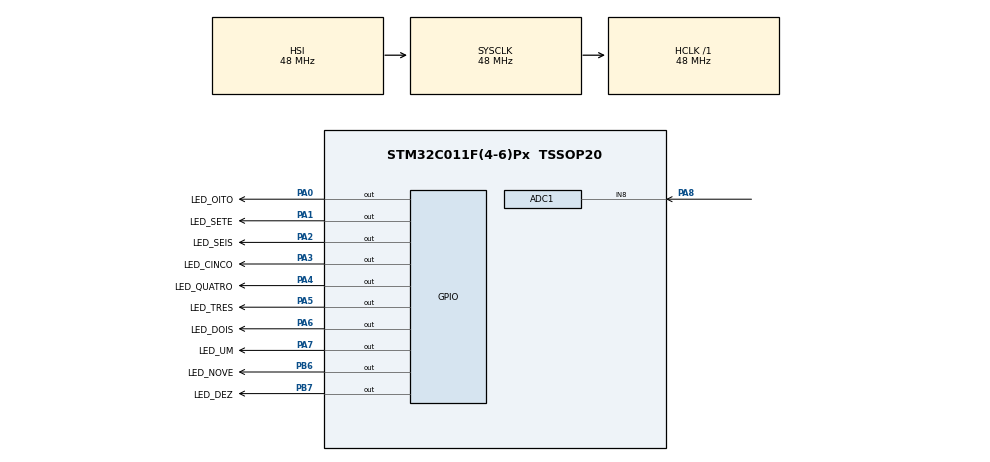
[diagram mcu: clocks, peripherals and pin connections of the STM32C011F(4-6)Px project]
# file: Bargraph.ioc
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ADC1.Channel-0\#ChannelRegularConversion=ADC_CHANNEL_8
ADC1.NbrOfConversionFlag=1
ADC1.Rank-0\#ChannelRegularConversion=1
ADC1.SamplingTime-0\#ChannelRegularConversion=ADC_SAMPLINGTIME_COMMON_1
ADC1.SelectedChannel=ADC_CHANNEL_8
ADC1.master=1
Mcu.Family=STM32C0
Mcu.Name=STM32C011F(4-6)Px
Mcu.Package=TSSOP20
NVIC.ADC1_IRQn=true\:0\:0\:false\:false\:true\:true\:true\:true
PA0.GPIO_Label=LED_OITO
PA0.Signal=GPIO_Output
PA1.GPIO_Label=LED_SETE
PA1.Signal=GPIO_Output
PA13.Mode=Serial_Wire
PA13.Signal=DEBUG_SWDIO
PA14-BOOT0.Mode=Serial_Wire
PA14-BOOT0.Signal=DEBUG_SWCLK
PA2.GPIO_Label=LED_SEIS
PA2.Signal=GPIO_Output
PA3.GPIO_Label=LED_CINCO
PA3.Signal=GPIO_Output
PA4.GPIO_Label=LED_QUATRO
PA4.Signal=GPIO_Output
PA5.GPIO_Label=LED_TRES
PA5.Signal=GPIO_Output
PA6.GPIO_Label=LED_DOIS
PA6.Signal=GPIO_Output
PA7.GPIO_Label=LED_UM
PA7.Signal=GPIO_Output
PA8.Mode=IN8
PA8.Signal=ADC1_IN8
PB6.GPIO_Label=LED_NOVE
PB6.Signal=GPIO_Output
PB7.GPIO_Label=LED_DEZ
PB7.Signal=GPIO_Output
ProjectManager.HeapSize=0x200
ProjectManager.StackSize=0x400
ProjectManager.TargetToolchain=STM32CubeIDE
RCC.ADCFreq_Value=48000000
RCC.AHBFreq_Value=48000000
RCC.CortexFreq_Value=48000000
RCC.EXTERNAL_CLOCK_VALUE=12288000
RCC.HCLKFreq_Value=48000000
RCC.HSE_VALUE=8000000
RCC.HSISYSCLKDivider=RCC_HSI_DIV1
RCC.HSI_VALUE=48000000
RCC.LSE_VALUE=32768
RCC.SYSCLKFreq_VALUE=48000000
board=custom

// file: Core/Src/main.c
/* USER CODE BEGIN Header */
/**
  ******************************************************************************
  * @file           : main.c
  * @brief          : Main program body
  ******************************************************************************
  * @attention
  *
  * Copyright (c) 2024 STMicroelectronics.
  * All rights reserved.
  *
  * This software is licensed under terms that can be found in the LICENSE file
  * in the root directory of this software component.
  * If no LICENSE file comes with this software, it is provided AS-IS.
  *
  ******************************************************************************
  */
/* USER CODE END Header */
#include "main.h"

ADC_HandleTypeDef hadc1;

void SystemClock_Config(void);
static void MX_GPIO_Init(void);
static void MX_ADC1_Init(void);
/* USER CODE BEGIN PFP */
void desligaLeds();
/* USER CODE END PFP */

/* USER CODE BEGIN 0 */
void desligaLeds(){
	HAL_GPIO_WritePin(GPIOA, LED_UM_Pin, GPIO_PIN_RESET);
	HAL_GPIO_WritePin(GPIOA, LED_DOIS_Pin, GPIO_PIN_RESET);
	HAL_GPIO_WritePin(GPIOA, LED_TRES_Pin, GPIO_PIN_RESET);
	HAL_GPIO_WritePin(GPIOA, LED_QUATRO_Pin, GPIO_PIN_RESET);
	HAL_GPIO_WritePin(GPIOA, LED_CINCO_Pin, GPIO_PIN_RESET);
	HAL_GPIO_WritePin(GPIOA, LED_SEIS_Pin, GPIO_PIN_RESET);
	HAL_GPIO_WritePin(GPIOA, LED_SETE_Pin, GPIO_PIN_RESET);
	HAL_GPIO_WritePin(GPIOA, LED_OITO_Pin, GPIO_PIN_RESET);
	HAL_GPIO_WritePin(GPIOB, LED_NOVE_Pin, GPIO_PIN_RESET);
	HAL_GPIO_WritePin(GPIOB, LED_DEZ_Pin, GPIO_PIN_RESET);
}

void HAL_ADC_ConvCpltCallback(ADC_HandleTypeDef *hadc) {
  uint32_t leituraPotenciometro = HAL_ADC_GetValue(&hadc1);
  int ledCount = leituraPotenciometro * 10 / 4095; // 10 LEDs e 2^12-1
  desligaLeds();
  if(ledCount >= 1) HAL_GPIO_WritePin(GPIOA, LED_UM_Pin, GPIO_PIN_SET);
  if(ledCount >= 2) HAL_GPIO_WritePin(GPIOA, LED_DOIS_Pin, GPIO_PIN_SET);
  if(ledCount >= 3) HAL_GPIO_WritePin(GPIOA, LED_TRES_Pin, GPIO_PIN_SET);
  if(ledCount >= 4) HAL_GPIO_WritePin(GPIOA, LED_QUATRO_Pin, GPIO_PIN_SET);
  if(ledCount >= 5) HAL_GPIO_WritePin(GPIOA, LED_CINCO_Pin, GPIO_PIN_SET);
  if(ledCount >= 6) HAL_GPIO_WritePin(GPIOA, LED_SEIS_Pin, GPIO_PIN_SET);
  if(ledCount >= 7) HAL_GPIO_WritePin(GPIOA, LED_SETE_Pin, GPIO_PIN_SET);
  if(ledCount >= 8) HAL_GPIO_WritePin(GPIOA, LED_OITO_Pin, GPIO_PIN_SET);
  if(ledCount >= 9) HAL_GPIO_WritePin(GPIOB, LED_NOVE_Pin, GPIO_PIN_SET);
  if(ledCount >= 10) HAL_GPIO_WritePin(GPIOB, LED_DEZ_Pin, GPIO_PIN_SET);
}
/* USER CODE END 0 */

int main(void)
{
  /* MCU Configuration--------------------------------------------------------*/
  /* Reset of all peripherals, Initializes the Flash interface and the Systick. */
  HAL_Init();
  /* Configure the system clock */
  SystemClock_Config();
  /* Initialize all configured peripherals */
  MX_GPIO_Init();
  MX_ADC1_Init();
  /* USER CODE BEGIN 2 */
  HAL_ADCEx_Calibration_Start(&hadc1); // Rotina de calibração do ADC
  /* USER CODE END 2 */
  /* Infinite loop */
  while (1)
  {
    /* USER CODE BEGIN 3 */
	HAL_ADC_Start_IT(&hadc1); // Inicia ADC interrupcao
  }
  /* USER CODE END 3 */
}

void SystemClock_Config(void)
{
  RCC_OscInitTypeDef RCC_OscInitStruct = {0};
  RCC_ClkInitTypeDef RCC_ClkInitStruct = {0};

  /** Initializes the RCC Oscillators according to the specified parameters
  * in the RCC_OscInitTypeDef structure.
  */
  RCC_OscInitStruct.OscillatorType = RCC_OSCILLATORTYPE_HSI;
  RCC_OscInitStruct.HSIState = RCC_HSI_ON;
  RCC_OscInitStruct.HSIDiv = RCC_HSI_DIV1;
  RCC_OscInitStruct.HSICalibrationValue = RCC_HSICALIBRATION_DEFAULT;
  if (HAL_RCC_OscConfig(&RCC_OscInitStruct) != HAL_OK)
  {
    Error_Handler();
  }

  /** Initializes the CPU, AHB and APB buses clocks
  */
  RCC_ClkInitStruct.ClockType = RCC_CLOCKTYPE_HCLK|RCC_CLOCKTYPE_SYSCLK
                              |RCC_CLOCKTYPE_PCLK1;
  RCC_ClkInitStruct.SYSCLKSource = RCC_SYSCLKSOURCE_HSI;
  RCC_ClkInitStruct.SYSCLKDivider = RCC_SYSCLK_DIV1;
  RCC_ClkInitStruct.AHBCLKDivider = RCC_HCLK_DIV1;
  RCC_ClkInitStruct.APB1CLKDivider = RCC_APB1_DIV1;

  if (HAL_RCC_ClockConfig(&RCC_ClkInitStruct, FLASH_LATENCY_1) != HAL_OK)
  {
    Error_Handler();
  }
}

static void MX_ADC1_Init(void)
{

  ADC_ChannelConfTypeDef sConfig = {0};

  /** Configure the global features of the ADC (Clock, Resolution, Data Alignment and number of conversion)
  */
  hadc1.Instance = ADC1;
  hadc1.Init.ClockPrescaler = ADC_CLOCK_SYNC_PCLK_DIV2;
  hadc1.Init.Resolution = ADC_RESOLUTION_12B;
  hadc1.Init.DataAlign = ADC_DATAALIGN_RIGHT;
  hadc1.Init.ScanConvMode = ADC_SCAN_DISABLE;
  hadc1.Init.EOCSelection = ADC_EOC_SINGLE_CONV;
  hadc1.Init.LowPowerAutoWait = DISABLE;
  hadc1.Init.LowPowerAutoPowerOff = DISABLE;
  hadc1.Init.ContinuousConvMode = DISABLE;
  hadc1.Init.NbrOfConversion = 1;
  hadc1.Init.DiscontinuousConvMode = DISABLE;
  hadc1.Init.ExternalTrigConv = ADC_SOFTWARE_START;
  hadc1.Init.ExternalTrigConvEdge = ADC_EXTERNALTRIGCONVEDGE_NONE;
  hadc1.Init.DMAContinuousRequests = DISABLE;
  hadc1.Init.Overrun = ADC_OVR_DATA_PRESERVED;
  hadc1.Init.SamplingTimeCommon1 = ADC_SAMPLETIME_1CYCLE_5;
  hadc1.Init.SamplingTimeCommon2 = ADC_SAMPLETIME_1CYCLE_5;
  hadc1.Init.OversamplingMode = DISABLE;
  hadc1.Init.TriggerFrequencyMode = ADC_TRIGGER_FREQ_HIGH;
  if (HAL_ADC_Init(&hadc1) != HAL_OK)
  {
    Error_Handler();
  }

  /** Configure Regular Channel
  */
  sConfig.Channel = ADC_CHANNEL_8;
  sConfig.Rank = ADC_REGULAR_RANK_1;
  sConfig.SamplingTime = ADC_SAMPLINGTIME_COMMON_1;
  if (HAL_ADC_ConfigChannel(&hadc1, &sConfig) != HAL_OK)
  {
    Error_Handler();
  }

}

static void MX_GPIO_Init(void)
{
  GPIO_InitTypeDef GPIO_InitStruct = {0};

  /* GPIO Ports Clock Enable */
  __HAL_RCC_GPIOB_CLK_ENABLE();
  __HAL_RCC_GPIOA_CLK_ENABLE();

  /*Configure GPIO pin Output Level */
  HAL_GPIO_WritePin(GPIOB, LED_DEZ_Pin|LED_NOVE_Pin, GPIO_PIN_RESET);

  /*Configure GPIO pin Output Level */
  HAL_GPIO_WritePin(GPIOA, LED_OITO_Pin|LED_SETE_Pin|LED_SEIS_Pin|LED_CINCO_Pin
                          |LED_QUATRO_Pin|LED_TRES_Pin|LED_DOIS_Pin|LED_UM_Pin, GPIO_PIN_RESET);

  /*Configure GPIO pins : LED_DEZ_Pin LED_NOVE_Pin */
  GPIO_InitStruct.Pin = LED_DEZ_Pin|LED_NOVE_Pin;
  GPIO_InitStruct.Mode = GPIO_MODE_OUTPUT_PP;
  GPIO_InitStruct.Pull = GPIO_NOPULL;
  GPIO_InitStruct.Speed = GPIO_SPEED_FREQ_LOW;
  HAL_GPIO_Init(GPIOB, &GPIO_InitStruct);

  /*Configure GPIO pins : LED_OITO_Pin LED_SETE_Pin LED_SEIS_Pin LED_CINCO_Pin
                           LED_QUATRO_Pin LED_TRES_Pin LED_DOIS_Pin LED_UM_Pin */
  GPIO_InitStruct.Pin = LED_OITO_Pin|LED_SETE_Pin|LED_SEIS_Pin|LED_CINCO_Pin
                          |LED_QUATRO_Pin|LED_TRES_Pin|LED_DOIS_Pin|LED_UM_Pin;
  GPIO_InitStruct.Mode = GPIO_MODE_OUTPUT_PP;
  GPIO_InitStruct.Pull = GPIO_NOPULL;
  GPIO_InitStruct.Speed = GPIO_SPEED_FREQ_LOW;
  HAL_GPIO_Init(GPIOA, &GPIO_InitStruct);

}

void Error_Handler(void)
{
  __disable_irq();
  while (1)
  {
  }
}
